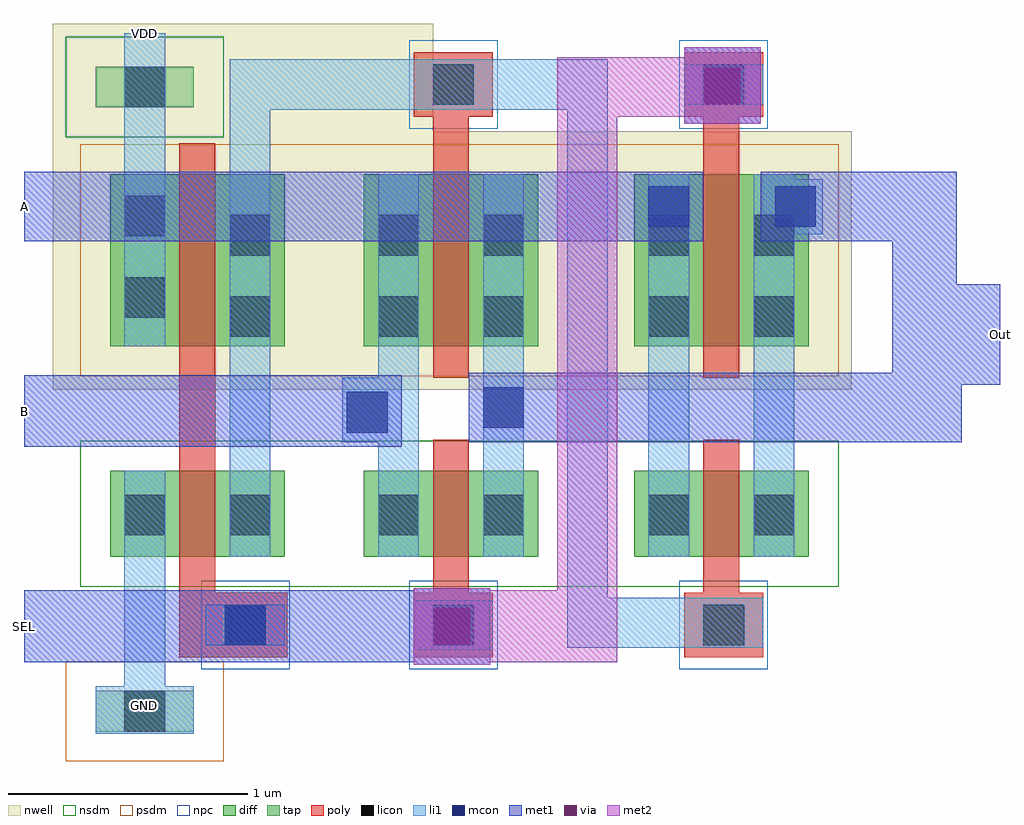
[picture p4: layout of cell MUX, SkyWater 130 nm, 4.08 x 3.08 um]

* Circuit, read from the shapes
.subckt MUX A B GND Out SEL VDD
XM1 n1 SEL GND GND sky130_fd_pr__nfet_01v8 w=0.36 l=0.15
XM2 Out SEL B GND sky130_fd_pr__nfet_01v8 w=0.36 l=0.15
XM3 Out n1 A GND sky130_fd_pr__nfet_01v8 w=0.36 l=0.15
XM4 n1 SEL VDD VDD sky130_fd_pr__pfet_01v8 w=0.72 l=0.15
XM5 Out n1 B VDD sky130_fd_pr__pfet_01v8 w=0.72 l=0.15
XM6 Out SEL A VDD sky130_fd_pr__pfet_01v8 w=0.72 l=0.15
.ends

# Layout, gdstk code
import gdstk
lib = gdstk.Library(unit=1e-6, precision=1e-09)
def R(c, l, rs):  # rectangles x0, y0, x1, y1
    for r in rs: c.add(gdstk.rectangle(r[:2], r[2:], *l))
nwell = (64, 20)
diff = (65, 20)
tap = (65, 44)
poly = (66, 20)
licon = (66, 44)
li1 = (67, 20)
mcon = (67, 44)
met1 = (68, 20)
via = (68, 44)
met2 = (69, 20)
nsdm = (93, 44)
psdm = (94, 20)
npc = (95, 20)

mux = lib.new_cell('MUX')
R(mux, nwell, [(0.12,1.44,3.46,2.52), (0.12,2.52,1.71,2.97)])
R(mux, diff, [(0.36,0.74,1.09,1.1), (1.42,0.74,2.15,1.1), (2.55,0.74,3.28,1.1), (0.36,1.62,1.09,2.34), (1.42,1.62,2.15,2.34), (2.55,1.62,3.28,2.34)])
R(mux, tap, [(0.3,0.01,0.71,0.18), (0.3,2.62,0.71,2.79)])
R(mux, poly, [(0.65,0.32,1.1,0.59), (1.63,0.32,1.96,0.59), (2.76,0.32,3.09,0.59), (0.65,0.59,0.8,2.47), (1.71,0.59,1.86,1.23), (2.84,0.59,2.99,1.23), (1.71,1.49,1.86,2.58), (2.84,1.49,2.99,2.58), (1.63,2.58,1.96,2.85), (2.76,2.58,3.09,2.85)])
R(mux, licon, [(0.42,0.01,0.59,0.18), (0.84,0.37,1.01,0.54), (1.71,0.37,1.88,0.54), (2.84,0.37,3.01,0.54), (0.42,0.83,0.59,1), (0.86,0.83,1.03,1), (1.48,0.83,1.65,1), (1.92,0.83,2.09,1), (2.61,0.83,2.78,1), (3.05,0.83,3.22,1), (0.86,1.66,1.03,1.83), (1.48,1.66,1.65,1.83), (1.92,1.66,2.09,1.83), (2.61,1.66,2.78,1.83), (3.05,1.66,3.22,1.83), (0.42,1.74,0.59,1.91), (0.86,2,1.03,2.17), (1.48,2,1.65,2.17), (1.92,2,2.09,2.17), (2.61,2,2.78,2.17), (3.05,2,3.22,2.17), (0.42,2.08,0.59,2.25), (0.42,2.62,0.59,2.79), (1.71,2.63,1.88,2.8), (2.84,2.63,3.01,2.8)])
R(mux, li1, [(0.3,0,0.71,0.2), (0.42,0.2,0.59,1.1), (1.63,0.35,1.96,0.56), (2.27,0.36,3.09,0.57), (0.76,0.37,1.09,0.54), (2.27,0.57,2.44,2.61), (0.86,0.74,1.03,2.61), (1.48,0.74,1.65,1.22), (1.92,0.74,2.09,2.34), (2.61,0.74,2.78,2.34), (3.05,0.74,3.22,2.09), (1.33,1.22,1.65,1.49), (1.48,1.49,1.65,2.34), (0.42,1.62,0.59,2.93), (3.05,2.09,3.34,2.32), (3.05,2.32,3.22,2.34), (0.86,2.61,2.44,2.82), (2.76,2.63,3.09,2.8)])
R(mux, mcon, [(0.84,0.37,1.01,0.54), (1.71,0.37,1.88,0.54), (1.35,1.26,1.52,1.43), (1.92,1.28,2.09,1.45), (2.61,2.12,2.78,2.29), (3.14,2.12,3.31,2.29), (2.84,2.63,3.01,2.8)])
R(mux, met1, [(1.63,0.29,1.95,0.3), (0,0.3,1.95,0.6), (1.63,0.6,1.95,0.61), (0,1.2,1.58,1.5), (1.86,1.22,3.92,1.46), (1.86,1.46,4.08,1.51), (3.63,1.51,4.08,1.88), (3.63,1.88,3.9,2.06), (0,2.06,2.84,2.35), (3.08,2.06,3.9,2.35), (2.76,2.55,3.08,2.87)])
R(mux, via, [(1.715,0.375,1.865,0.525), (2.845,2.635,2.995,2.785)])
R(mux, met2, [(1.63,0.29,1.95,0.3), (1.63,0.3,2.48,0.6), (1.63,0.6,1.95,0.61), (2.23,0.6,2.48,2.58), (2.76,2.55,3.08,2.58), (2.23,2.58,3.08,2.83), (2.76,2.83,3.08,2.87)])
R(mux, nsdm, [(0.235,0.615,3.405,1.225), (0.175,2.495,0.835,2.915)])
R(mux, psdm, [(0.175,-0.115,0.835,0.305), (0.235,1.495,3.405,2.465)])
R(mux, npc, [(0.74,0.27,1.11,0.64), (1.61,0.27,1.98,0.64), (2.74,0.27,3.11,0.64), (1.61,2.53,1.98,2.9), (2.74,2.53,3.11,2.9)])
mux.add(gdstk.Label('SEL', (0,0.45), layer=68, texttype=16))
mux.add(gdstk.Label('A', (0,2.205), layer=68, texttype=16))
mux.add(gdstk.Label('B', (0,1.35), layer=68, texttype=16))
mux.add(gdstk.Label('Out', (4.08,1.67), layer=68, texttype=16))
mux.add(gdstk.Label('VDD', (0.505,2.93), layer=67, texttype=16))
mux.add(gdstk.Label('GND', (0.505,0.12), layer=67, texttype=16))

lib.write_gds('MUX.gds')
